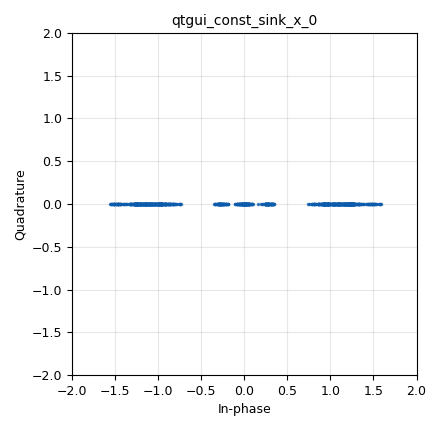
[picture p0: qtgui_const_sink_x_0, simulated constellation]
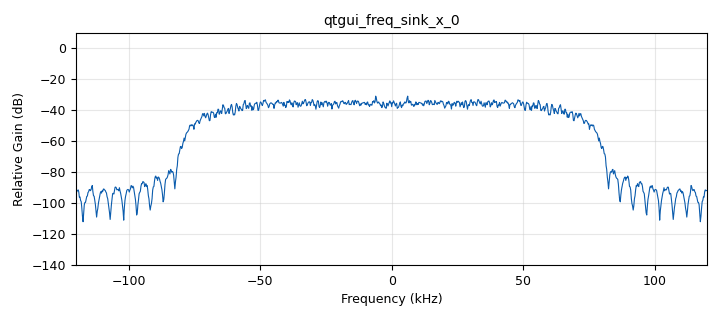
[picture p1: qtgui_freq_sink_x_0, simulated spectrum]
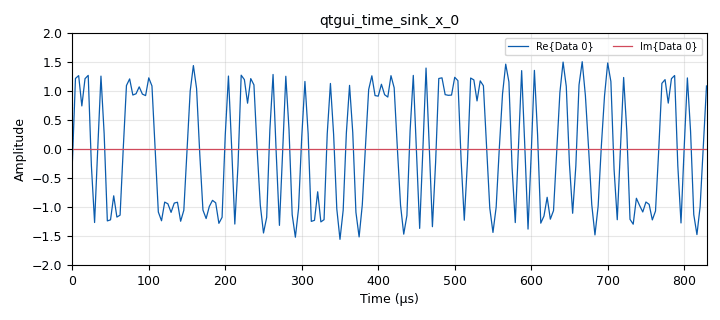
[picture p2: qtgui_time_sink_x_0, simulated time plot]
options:
  parameters:
    author: Joel Gonzalez
    generate_options: qt_gui
    id: bpsk_simulation
    output_language: python
    title: bpsk_simulation
  states: {}

blocks:
- name: constellation_object
  id: variable_constellation
  parameters:
    precision: '8'
    type: bpsk
  states: {}
- name: excess_bw
  id: variable
  parameters:
    value: '0.35'
  states: {}
- name: samp_rate
  id: variable
  parameters:
    value: 240E3
  states: {}
- name: sps
  id: variable
  parameters:
    value: '2'
  states: {}
- name: analog_random_source_x_0
  id: analog_random_source_x
  parameters:
    max: '256'
    min: '0'
    num_samps: '1024'
    repeat: 'True'
    type: byte
  states: {}
- name: digital_constellation_modulator_0
  id: digital_constellation_modulator
  parameters:
    constellation: constellation_object
    differential: 'True'
    excess_bw: excess_bw
    samples_per_symbol: sps
  states: {}
- name: qtgui_const_sink_x_0
  id: qtgui_const_sink_x
  parameters:
    gui_hint: 0,2,1,2
    size: '1024'
    type: complex
  states: {}
- name: qtgui_freq_sink_x_0
  id: qtgui_freq_sink_x
  parameters:
    average: '0.05'
    bw: samp_rate
    fc: '0'
    fftsize: '1024'
    gui_hint: 1,0,1,4
    type: complex
  states: {}
- name: qtgui_time_sink_x_0
  id: qtgui_time_sink_x
  parameters:
    alpha1: '0.5'
    alpha2: '0.5'
    gui_hint: 0,0,1,2
    label1: ''
    label2: ''
    name: ''
    size: '200'
    srate: samp_rate
    tr_mode: qtgui.TRIG_MODE_NORM
    type: complex
    ymax: '2'
    ymin: '-2'
  states: {}

connections:
- [analog_random_source_x_0, '0', digital_constellation_modulator_0, '0']
- [digital_constellation_modulator_0, '0', qtgui_const_sink_x_0, '0']
- [digital_constellation_modulator_0, '0', qtgui_freq_sink_x_0, '0']
- [digital_constellation_modulator_0, '0', qtgui_time_sink_x_0, '0']

metadata:
  file_format: 1
  grc_version: 3.10.7.0
